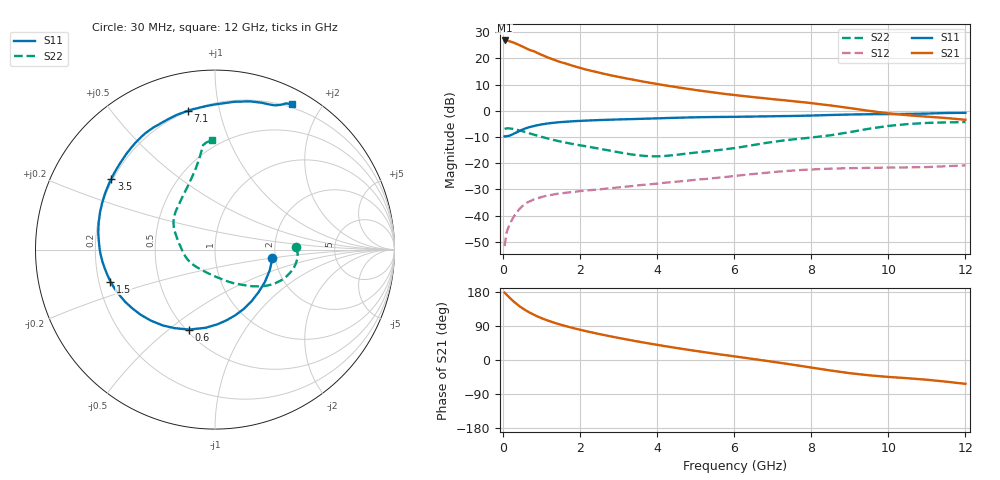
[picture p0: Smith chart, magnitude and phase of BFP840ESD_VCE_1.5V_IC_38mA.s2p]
! Infineon Technologies  Discrete & RF Semiconductors
! BFP840ESD
! VCE =  1.5 V,  IC =  38 mA
! Common Emitter S-Parameters:  May 2012
# GHz  S  MA  R  50
!  f  S11  S21  S12  S22
! GHz  MAG  ANG  MAG  ANG  MAG  ANG  MAG  ANG
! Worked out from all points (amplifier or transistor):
!   93 points, 30 MHz to 12 GHz, reference 50 ohm
!   highest |S21| = 26.9 dB at 30 MHz (marker M1)
!   |S21| within 3 dB of that: start of sweep to 587.3 MHz
!   unconditionally stable (mu >= 1): start of sweep to end of sweep
!   at 1.1 GHz: K = 1.18, MAG = 24.0 dB, |S12| = -32.5 dB
!   at 4.2 GHz: K = 1.82, MAG = 13.4 dB, |S12| = -27.5 dB
!   at 12 GHz: K = 1.21, MAG = 5.9 dB, |S12| = -20.8 dB
!   S11 on the Smith chart (normalised r, x): 30 MHz: 1.93, -0.21; 600 MHz: 0.52, -0.59; 1.5 GHz: 0.25, -0.14; 3.5 GHz: 0.19, +0.30; 7.1 GHz: 0.20, +0.81; 12 GHz: 0.16, +1.65
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0.03  0.3238 -8.5  22 177.7  0.0026 48.0  0.4496 1.5
0.13  0.3314 -33.0  21.59 167.4  0.006 55.8  0.4622 -6.1
0.18  0.3395 -44.4  21 162.3  0.0072 55.5  0.4578 -9.3
0.28  0.3679 -64.4  19.76 153.1  0.0098 56.7  0.445 -15.0
0.33  0.3831 -72.9  19.17 148.9  0.0111 56.4  0.4363 -17.6
0.43  0.4161 -88.0  17.68 141.1  0.0137 54.3  0.4184 -22.3
0.5  0.4389 -96.9  16.79 136.1  0.0153 52.6  0.405 -25.2
0.6  0.4685 -108.0  15.41 129.7  0.0174 50.8  0.3856 -29.0
0.8  0.5131 -124.6  13.61 119.0  0.0205 46.4  0.3482 -35.4
1  0.5502 -138.6  11.63 110.0  0.0226 42.5  0.316 -40.4
1.2  0.5789 -149.8  10.1 102.4  0.0244 39.6  0.2896 -44.8
1.5  0.6089 -163.0  8.429 92.8  0.0265 37.1  0.2565 -50.5
1.8  0.6299 -173.5  7.241 84.6  0.0281 35.4  0.2321 -55.9
2.1  0.6466 177.2  6.242 77.2  0.0296 34.2  0.2125 -61.4
2.7  0.6731 162.2  4.917 64.1  0.0329 33.9  0.1771 -73.4
3.5  0.6991 145.7  3.762 48.7  0.0377 33.2  0.1412 -98.9
4.1  0.7205 135.1  3.14 38.2  0.0416 32.4  0.136 -125.2
6.1  0.768 111.7  1.959 8.2  0.058 26.9  0.1998 171.9
7.1  0.7881 101.0  1.639 -6.2  0.0685 19.9  0.2606 151.7
8.5  0.8307 82.5  1.263 -27.7  0.0786 6.9  0.3407 122.9
10.5  0.8704 67.4  0.822 -48.1  0.0831 -8.0  0.5571 97.7
12  0.9153 62.2  0.673 -62.9  0.0909 -15.3  0.609 91.5
